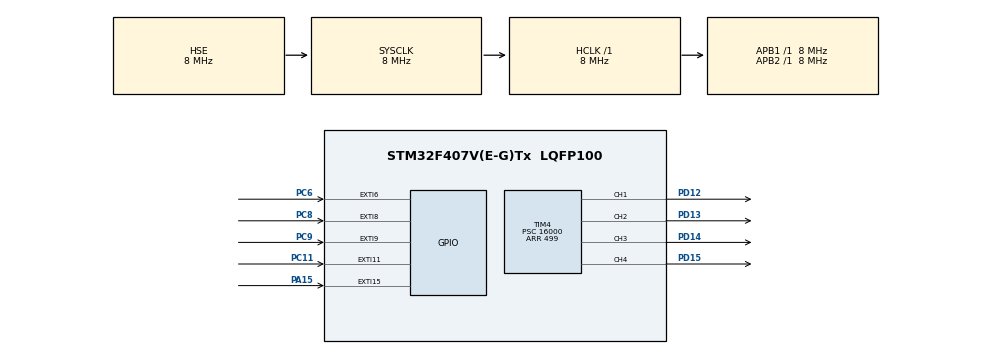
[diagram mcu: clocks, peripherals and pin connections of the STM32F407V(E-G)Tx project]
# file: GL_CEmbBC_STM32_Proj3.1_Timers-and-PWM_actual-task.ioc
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Mcu.Family=STM32F4
Mcu.Name=STM32F407V(E-G)Tx
Mcu.Package=LQFP100
NVIC.EXTI15_10_IRQn=true\:0\:0\:false\:false\:true\:true\:true
NVIC.EXTI9_5_IRQn=true\:0\:0\:false\:false\:true\:true\:true
NVIC.PriorityGroup=NVIC_PRIORITYGROUP_4
NVIC.TIM4_IRQn=true\:0\:0\:false\:false\:true\:true\:true
PA15.GPIO_ModeDefaultEXTI=GPIO_MODE_IT_FALLING
PA15.Signal=GPXTI15
PC11.GPIO_ModeDefaultEXTI=GPIO_MODE_IT_FALLING
PC11.Signal=GPXTI11
PC6.GPIO_ModeDefaultEXTI=GPIO_MODE_IT_FALLING
PC6.Signal=GPXTI6
PC8.GPIO_ModeDefaultEXTI=GPIO_MODE_IT_FALLING
PC8.Signal=GPXTI8
PC9.GPIO_ModeDefaultEXTI=GPIO_MODE_IT_FALLING
PC9.Signal=GPXTI9
PD12.Signal=S_TIM4_CH1
PD13.Signal=S_TIM4_CH2
PD14.Signal=S_TIM4_CH3
PD15.Signal=S_TIM4_CH4
PH0-OSC_IN.Mode=HSE-External-Oscillator
PH0-OSC_IN.Signal=RCC_OSC_IN
PH1-OSC_OUT.Mode=HSE-External-Oscillator
PH1-OSC_OUT.Signal=RCC_OSC_OUT
ProjectManager.HeapSize=0x200
ProjectManager.StackSize=0x400
ProjectManager.TargetToolchain=STM32CubeIDE
RCC.48MHZClocksFreq_Value=32000000
RCC.AHBFreq_Value=8000000
RCC.APB1Freq_Value=8000000
RCC.APB1TimFreq_Value=8000000
RCC.APB2Freq_Value=8000000
RCC.APB2TimFreq_Value=8000000
RCC.CortexFreq_Value=8000000
RCC.EnbaleCSS=true
RCC.HCLKFreq_Value=8000000
RCC.HSE_VALUE=8000000
RCC.HSI_VALUE=16000000
RCC.LSE_VALUE=32768
RCC.PLLM=4
RCC.PLLN=64
RCC.PLLP=RCC_PLLP_DIV4
RCC.PLLSourceVirtual=RCC_PLLSOURCE_HSE
RCC.SYSCLKFreq_VALUE=8000000
RCC.SYSCLKSource=RCC_SYSCLKSOURCE_HSE
RCC.VCOOutputFreq_Value=128000000
SH.S_TIM4_CH1.0=TIM4_CH1,PWM Generation1 CH1
SH.S_TIM4_CH2.0=TIM4_CH2,PWM Generation2 CH2
SH.S_TIM4_CH3.0=TIM4_CH3,PWM Generation3 CH3
SH.S_TIM4_CH4.0=TIM4_CH4,PWM Generation4 CH4
TIM4.AutoReloadPreload=TIM_AUTORELOAD_PRELOAD_ENABLE
TIM4.Channel-PWM\ Generation1\ CH1=TIM_CHANNEL_1
TIM4.Channel-PWM\ Generation2\ CH2=TIM_CHANNEL_2
TIM4.Channel-PWM\ Generation3\ CH3=TIM_CHANNEL_3
TIM4.Channel-PWM\ Generation4\ CH4=TIM_CHANNEL_4
TIM4.Period=499
TIM4.Prescaler=16000
TIM4.Pulse-PWM\ Generation1\ CH1=100
TIM4.Pulse-PWM\ Generation2\ CH2=100
TIM4.Pulse-PWM\ Generation3\ CH3=100
TIM4.Pulse-PWM\ Generation4\ CH4=100
VP_TIM4_VS_ClockSourceINT.Mode=Internal
board=custom

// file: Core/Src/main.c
/* USER CODE BEGIN Header */
/**
  ******************************************************************************
  * @file           : main.c
  * @brief          : Main program body
  ******************************************************************************
  * @attention
  *
  * <h2><center>&copy; Copyright (c) 2021 STMicroelectronics.
  * All rights reserved.</center></h2>
  *
  * This software component is licensed by ST under BSD 3-Clause license,
  * the "License"; You may not use this file except in compliance with the
  * License. You may obtain a copy of the License at:
  *                        opensource.org/licenses/BSD-3-Clause
  *
  ******************************************************************************
  */

// todo

// Calculate proper frequency changing
// Capture signals
// Record a video

// todo end.

/* USER CODE END Header */
#include "main.h"

TIM_HandleTypeDef htim4;

/* USER CODE BEGIN PV */

static const uint8_t led_states_num = 5;

const uint8_t get_led_states_num(void)
{
	return led_states_num;
}

/* USER CODE END PV */

void SystemClock_Config(void);
static void MX_GPIO_Init(void);
static void MX_TIM4_Init(void);

int main(void)
{

  /* MCU Configuration--------------------------------------------------------*/

  /* Reset of all peripherals, Initializes the Flash interface and the Systick. */
  HAL_Init();

  /* Configure the system clock */
  SystemClock_Config();

  /* Initialize all configured peripherals */
  MX_GPIO_Init();
  MX_TIM4_Init();
  /* USER CODE BEGIN 2 */

	// note: HARDWARE SETUP

    // pin_D12 = LED green	- TIM_CH_1
    // pin_D13 = LED orange	- TIM_CH_2
    // pin_D14 = LED red	- TIM_CH_3
    // pin_D15 = LED blue	- TIM_CH_4

    // pin_A15 	= button SWT2 (center)	- INT_SWT2
    // pin_C6	= button SWT4 (up)		- INT_SWT4
    // pin_C8	= button SWT5 (down)	- INT_SWT5
    // pin_C9	= button SWT3 (left)	- INT_SWT3
    // pin_C11 	= button SWT1 (right)	- INT_SWT1

  	// note: SOFTWARE

  	// files with user-code:
  	// - $ProjectDir/Core/Src/main.c
  	// - $ProjectDir/Core/Src/stm32f4xx_it.c

  /* USER CODE END 2 */

  /* Infinite loop */
  /* USER CODE BEGIN WHILE */

  HAL_TIM_Base_Start(&htim4);
  switch (get_output_led())
  {
  	case no_led:
  		// do nothing
		break;
  	case led_red:
  		HAL_TIM_PWM_Start(&htim4, TIM_CHANNEL_3);
  		break;
  	case led_orange:
  		HAL_TIM_PWM_Start(&htim4, TIM_CHANNEL_2);
  		break;
  	case led_green:
  		HAL_TIM_PWM_Start(&htim4, TIM_CHANNEL_1);
  		break;
  	case led_blue:
  		HAL_TIM_PWM_Start(&htim4, TIM_CHANNEL_4);
  		break;
  }

  while (1)
  {
    /* USER CODE END WHILE */

  }
}

void SystemClock_Config(void)
{
  RCC_OscInitTypeDef RCC_OscInitStruct = {0};
  RCC_ClkInitTypeDef RCC_ClkInitStruct = {0};

  /** Configure the main internal regulator output voltage
  */
  __HAL_RCC_PWR_CLK_ENABLE();
  __HAL_PWR_VOLTAGESCALING_CONFIG(PWR_REGULATOR_VOLTAGE_SCALE1);
  /** Initializes the RCC Oscillators according to the specified parameters
  * in the RCC_OscInitTypeDef structure.
  */
  RCC_OscInitStruct.OscillatorType = RCC_OSCILLATORTYPE_HSE;
  RCC_OscInitStruct.HSEState = RCC_HSE_ON;
  RCC_OscInitStruct.PLL.PLLState = RCC_PLL_NONE;
  if (HAL_RCC_OscConfig(&RCC_OscInitStruct) != HAL_OK)
  {
    Error_Handler();
  }
  /** Initializes the CPU, AHB and APB buses clocks
  */
  RCC_ClkInitStruct.ClockType = RCC_CLOCKTYPE_HCLK|RCC_CLOCKTYPE_SYSCLK
                              |RCC_CLOCKTYPE_PCLK1|RCC_CLOCKTYPE_PCLK2;
  RCC_ClkInitStruct.SYSCLKSource = RCC_SYSCLKSOURCE_HSE;
  RCC_ClkInitStruct.AHBCLKDivider = RCC_SYSCLK_DIV1;
  RCC_ClkInitStruct.APB1CLKDivider = RCC_HCLK_DIV1;
  RCC_ClkInitStruct.APB2CLKDivider = RCC_HCLK_DIV1;

  if (HAL_RCC_ClockConfig(&RCC_ClkInitStruct, FLASH_LATENCY_0) != HAL_OK)
  {
    Error_Handler();
  }
  /** Enables the Clock Security System
  */
  HAL_RCC_EnableCSS();
}

static void MX_TIM4_Init(void)
{

  TIM_ClockConfigTypeDef sClockSourceConfig = {0};
  TIM_MasterConfigTypeDef sMasterConfig = {0};
  TIM_OC_InitTypeDef sConfigOC = {0};

  htim4.Instance = TIM4;
  htim4.Init.Prescaler = 16000;
  htim4.Init.CounterMode = TIM_COUNTERMODE_UP;
  htim4.Init.Period = 499;
  htim4.Init.ClockDivision = TIM_CLOCKDIVISION_DIV1;
  htim4.Init.AutoReloadPreload = TIM_AUTORELOAD_PRELOAD_ENABLE;
  if (HAL_TIM_Base_Init(&htim4) != HAL_OK)
  {
    Error_Handler();
  }
  sClockSourceConfig.ClockSource = TIM_CLOCKSOURCE_INTERNAL;
  if (HAL_TIM_ConfigClockSource(&htim4, &sClockSourceConfig) != HAL_OK)
  {
    Error_Handler();
  }
  if (HAL_TIM_PWM_Init(&htim4) != HAL_OK)
  {
    Error_Handler();
  }
  sMasterConfig.MasterOutputTrigger = TIM_TRGO_RESET;
  sMasterConfig.MasterSlaveMode = TIM_MASTERSLAVEMODE_DISABLE;
  if (HAL_TIMEx_MasterConfigSynchronization(&htim4, &sMasterConfig) != HAL_OK)
  {
    Error_Handler();
  }
  sConfigOC.OCMode = TIM_OCMODE_PWM1;
  sConfigOC.Pulse = 100;
  sConfigOC.OCPolarity = TIM_OCPOLARITY_HIGH;
  sConfigOC.OCFastMode = TIM_OCFAST_DISABLE;
  if (HAL_TIM_PWM_ConfigChannel(&htim4, &sConfigOC, TIM_CHANNEL_1) != HAL_OK)
  {
    Error_Handler();
  }
  if (HAL_TIM_PWM_ConfigChannel(&htim4, &sConfigOC, TIM_CHANNEL_2) != HAL_OK)
  {
    Error_Handler();
  }
  if (HAL_TIM_PWM_ConfigChannel(&htim4, &sConfigOC, TIM_CHANNEL_3) != HAL_OK)
  {
    Error_Handler();
  }
  if (HAL_TIM_PWM_ConfigChannel(&htim4, &sConfigOC, TIM_CHANNEL_4) != HAL_OK)
  {
    Error_Handler();
  }
  HAL_TIM_MspPostInit(&htim4);

}

static void MX_GPIO_Init(void)
{
  GPIO_InitTypeDef GPIO_InitStruct = {0};

  /* GPIO Ports Clock Enable */
  __HAL_RCC_GPIOH_CLK_ENABLE();
  __HAL_RCC_GPIOD_CLK_ENABLE();
  __HAL_RCC_GPIOC_CLK_ENABLE();
  __HAL_RCC_GPIOA_CLK_ENABLE();

  /*Configure GPIO pins : PC6 PC8 PC9 PC11 */
  GPIO_InitStruct.Pin = GPIO_PIN_6|GPIO_PIN_8|GPIO_PIN_9|GPIO_PIN_11;
  GPIO_InitStruct.Mode = GPIO_MODE_IT_FALLING;
  GPIO_InitStruct.Pull = GPIO_NOPULL;
  HAL_GPIO_Init(GPIOC, &GPIO_InitStruct);

  /*Configure GPIO pin : PA15 */
  GPIO_InitStruct.Pin = GPIO_PIN_15;
  GPIO_InitStruct.Mode = GPIO_MODE_IT_FALLING;
  GPIO_InitStruct.Pull = GPIO_NOPULL;
  HAL_GPIO_Init(GPIOA, &GPIO_InitStruct);

  /* EXTI interrupt init*/
  HAL_NVIC_SetPriority(EXTI9_5_IRQn, 0, 0);
  HAL_NVIC_EnableIRQ(EXTI9_5_IRQn);

  HAL_NVIC_SetPriority(EXTI15_10_IRQn, 0, 0);
  HAL_NVIC_EnableIRQ(EXTI15_10_IRQn);

}

void Error_Handler(void)
{
  __disable_irq();
  while (1)
  {
  }
}

/************************ (C) COPYRIGHT STMicroelectronics *****END OF FILE****/
